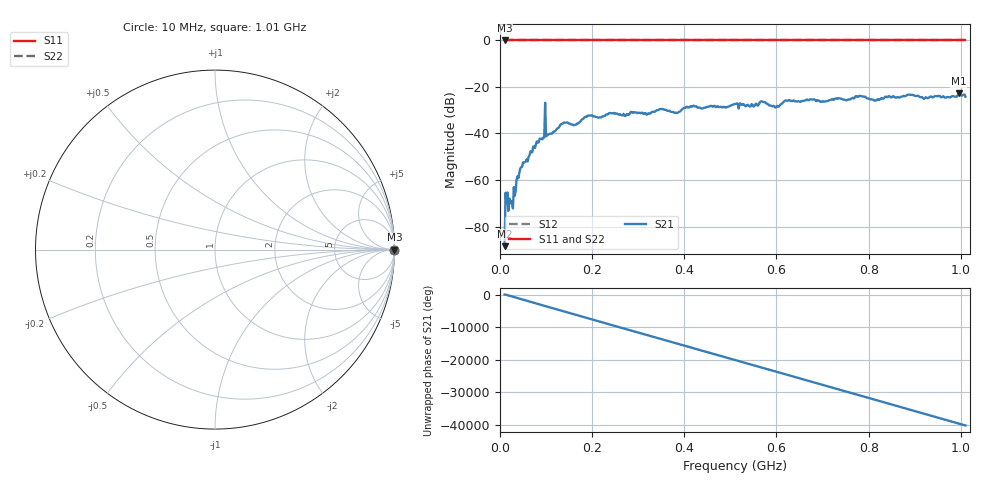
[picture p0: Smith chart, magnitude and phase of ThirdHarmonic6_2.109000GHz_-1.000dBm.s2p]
! 8/17/2025 1:13:37 AM
! C:\ANRITSUVNA\TEMP\TEMP.S2P
! CHANNEL.1
! TR.MEASUREMENT
! RAW.DATA
! RF.CORRECTION.OFF
! AVERAGING.OFF
! IF.BANDWIDTH: 5KHZ
! SWEEPTYPE:  FREQ.SWEEP(Linear)
! Reference Plane Port Info
! PORT:  PORT1  PORT2
! DISTANCE:  0  m  0  m
! TIME:  0  s  0  s
! PHASE.OFFSET:  0  deg.  0  deg.
! LOSS:  0  dB  0  dB
! REF.LOSS:  0  dB  0  dB
! REF.FREQ:  0  Hz  0  Hz
! Power Info
! POWER:  -20  dBm  -20  dBm
! EFF.POWER:  -20  dBm  -20  dBm
! SOURCE.ATTEN:  0  dB  0  dB
! TEST.ATTEN:  0  dB  0  dB
# GHZ S RI R 50.0
! FREQ.GHZ  S11RE  S11IM  S21RE  S21IM  S12RE  S12IM  S22RE  S22IM
!; PortSelection: Port_12
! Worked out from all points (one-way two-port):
!   501 points, 10 MHz to 1.01 GHz, reference 50 ohm
!   highest |S21| = -22.80 dB at 996 MHz (marker M1); lowest = -88.5 dB at 10 MHz (marker M2)
!   lowest |S11| = 0.0 dB at 10 MHz (marker M3)
!   |S11| at or under -10 dB: nowhere
!   |S22| runs from 0.0 to 0.0 dB; largest |S21 - S12| = 1.1
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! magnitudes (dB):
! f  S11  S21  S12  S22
! 10 MHz  0.0  -88.5  0.0  0.0
! 16 MHz  0.0  -65.3  0.0  0.0
! 22 MHz  0.0  -68.6  0.0  0.0
! 30 MHz  0.0  -63.1  0.0  0.0
! 40 MHz  0.0  -59.2  0.0  0.0
! 48 MHz  0.0  -54.3  0.0  0.0
! 92 MHz  0.0  -42.5  0.0  0.0
! 94 MHz  0.0  -41.7  0.0  0.0
! 102 MHz  0.0  -40.7  0.0  0.0
! 104 MHz  0.0  -40.5  0.0  0.0
! 136 MHz  0.0  -35.8  0.0  0.0
! 178 MHz  0.0  -34.0  0.0  0.0
! 344 MHz  0.0  -29.9  0.0  0.0
! 382 MHz  0.0  -31.0  0.0  0.0
! 418 MHz  0.0  -28.3  0.0  0.0
! 510 MHz  0.0  -27.3  0.0  0.0
! 570 MHz  0.0  -26.3  0.0  0.0
! 600 MHz  0.0  -28.4  0.0  0.0
! 678 MHz  0.0  -25.4  0.0  0.0
! 844 MHz  0.0  -23.9  0.0  0.0
! 996 MHz  0.0  -22.8  0.0  0.0
! 1.01 GHz  0.0  -24.2  0.0  0.0
